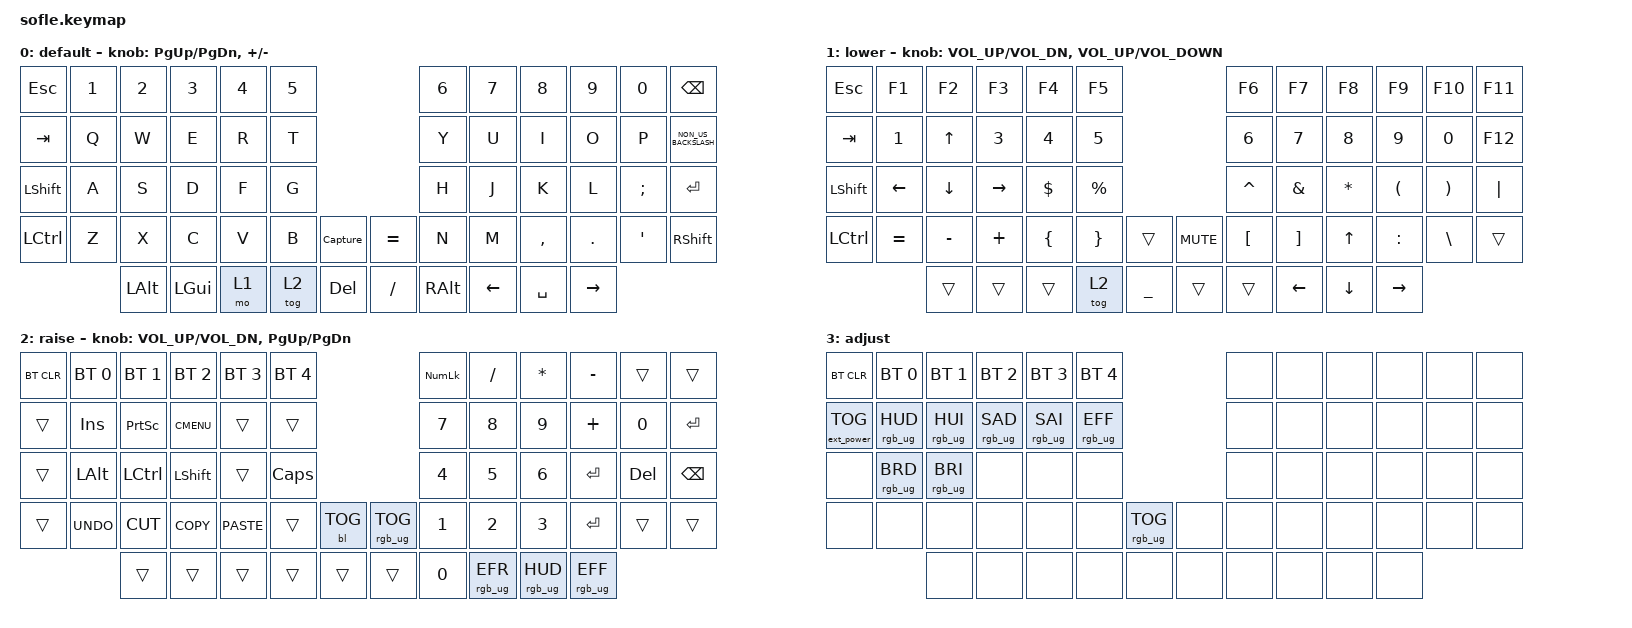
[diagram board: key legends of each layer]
/*
 * Copyright (c) 2020 The ZMK Contributors
 *
 * SPDX-License-Identifier: MIT
 */

#include <behaviors.dtsi>
#include <dt-bindings/zmk/backlight.h>
#include <dt-bindings/zmk/bt.h>
#include <dt-bindings/zmk/ext_power.h>
#include <dt-bindings/zmk/keys.h>
#include <dt-bindings/zmk/rgb.h>

#define BASE 0
#define LOWER 1
#define RAISE 2
#define ADJUST 3

/ {
    // Activate ADJUST layer by pressing raise and lower

    conditional_layers {
        compatible = "zmk,conditional-layers";

        adjust_layer {
            if-layers = <LOWER RAISE>;
            then-layer = <ADJUST>;
        };
    };

    macros {
        Capture: Capture {
            compatible = "zmk,behavior-macro";
            #binding-cells = <0>;
            bindings = <&kp LGUI &kp LEFT_SHIFT &kp S>;
            label = "CAPTURE";
        };
    };

    keymap {
        compatible = "zmk,keymap";

        default_layer {
            display-name = "default";

            // ------------------------------------------------------------------------------------------------------------
            // |   `   |  1  |  2  |  3   |  4   |  5   |                   |  6   |  7    |  8    |  9   |   0   |       |
            // |  ESC  |  Q  |  W  |  E   |  R   |  T   |                   |  Y   |  U    |  I    |  O   |   P   | BKSPC |
            // |  TAB  |  A  |  S  |  D   |  F   |  G   |                   |  H   |  J    |  K    |  L   |   ;   |   '   |
            // | SHIFT |  Z  |  X  |  C   |  V   |  B   |  MUTE  |  |       |  N   |  M    |  ,    |  .   |   /   | SHIFT |
            //               | GUI | ALT  | CTRL | LOWER|  ENTER |  | SPACE | RAISE| CTRL  | ALT   | GUI  |

            bindings = <
&kp ESCAPE      &kp N1  &kp N2        &kp N3        &kp N4  &kp N5                           &kp N6         &kp N7          &kp N8     &kp N9           &kp N0            &kp BACKSPACE
&kp TAB         &kp Q   &kp W         &kp E         &kp R   &kp T                            &kp Y          &kp U           &kp I      &kp O            &kp P             &kp NON_US_BACKSLASH
&kp LEFT_SHIFT  &kp A   &kp S         &kp D         &kp F   &kp G                            &kp H          &kp J           &kp K      &kp L            &kp SEMI          &kp ENTER
&kp LCTRL       &kp Z   &kp X         &kp C         &kp V   &kp B   &Capture      &kp EQUAL  &kp N          &kp M           &kp COMMA  &kp DOT          &kp SINGLE_QUOTE  &kp RSHFT
                        &kp LEFT_ALT  &kp LEFT_GUI  &mo 1   &tog 2  &kp DELETE    &kp SLASH  &kp RIGHT_ALT  &kp LEFT_ARROW  &kp SPACE  &kp RIGHT_ARROW
            >;

            sensor-bindings =
                <&inc_dec_kp PAGE_UP PAGE_DOWN>,
                <&inc_dec_kp PLUS MINUS>;
        };

        lower_layer {
            display-name = "lower";

            // TODO: Some binds are waiting for shifted keycode support.
            // ------------------------------------------------------------------------------------------------------------
            // |       |  F1 |  F2 |  F3  |  F4  |  F5  |                   |  F6  |  F7   |  F8   |  F9  |  F10  |  F11  |
            // |   `   |  1  |  2  |  3   |  4   |  5   |                   |  6   |  7    |  8    |  9   |   0   |  F12  |
            // |       |  !  |  @  |  #   |  $   |  %   |                   |  ^   |  &    |  *    |  (   |   )   |   |   |
            // |       |  =  |  -  |  +   |  {   |  }   |        |  |       |  [   |  ]    |  ;    |  :   |   \   |       |
            //               |     |      |      |      |        |  |       |      |       |       |      |

            bindings = <
&kp ESCAPE      &kp F1          &kp F2        &kp F3           &kp F4    &kp F5                                   &kp F6     &kp F7          &kp F8          &kp F9           &kp F10   &kp F11
&kp TAB         &kp N1          &kp UP_ARROW  &kp N3           &kp N4    &kp N5                                   &kp N6     &kp N7          &kp N8          &kp N9           &kp N0    &kp F12
&kp LEFT_SHIFT  &kp LEFT_ARROW  &kp DOWN      &kp RIGHT_ARROW  &kp DLLR  &kp PRCNT                                &kp CARET  &kp AMPS        &kp ASTRK       &kp LPAR         &kp RPAR  &kp PIPE
&kp LCTRL       &kp EQUAL       &kp MINUS     &kp PLUS         &kp LBRC  &kp RBRC   &trans            &kp K_MUTE  &kp LBKT   &kp RBKT        &kp UP_ARROW    &kp COLON        &kp BSLH  &trans
                                &trans        &trans           &trans    &tog 2     &kp UNDERSCORE    &trans      &trans     &kp LEFT_ARROW  &kp DOWN_ARROW  &kp RIGHT_ARROW
            >;

            sensor-bindings =
                <&inc_dec_kp C_VOL_UP C_VOL_DN>,
                <&inc_dec_kp C_VOLUME_UP C_VOLUME_DOWN>;
        };

        raise_layer {
            display-name = "raise";

            // ------------------------------------------------------------------------------------------------------------
            // | BTCLR | BT1  | BT2  |  BT3  |  BT4  |  BT5 |                |      |      |       |      |       |       |
            // |       | INS  | PSCR | GUI   |       |      |                | PGUP |      |   ^   |      |       |       |
            // |       | ALT  | CTRL | SHIFT |       | CAPS |                | PGDN |   <- |   v   |  ->  |  DEL  | BKSPC |
            // |       | UNDO | CUT  | COPY  | PASTE |      |      |  |      |      |      |       |      |       |       |
            //                |      |       |       |      |      |  |      |      |      |       |      |

            bindings = <
&bt BT_CLR  &bt BT_SEL 0  &bt BT_SEL 1  &bt BT_SEL 2  &bt BT_SEL 3  &bt BT_SEL 4                                 &kp KP_NUMLOCK  &kp SLASH        &kp ASTERISK     &kp MINUS        &trans   &trans
&trans      &kp INS       &kp PSCRN     &kp K_CMENU   &trans        &trans                                       &kp NUMBER_7    &kp NUMBER_8     &kp N9           &kp PLUS         &kp N0   &kp ENTER
&trans      &kp LALT      &kp LCTRL     &kp LSHFT     &trans        &kp CLCK                                     &kp NUMBER_4    &kp N5           &kp NUMBER_6     &kp ENTER        &kp DEL  &kp BSPC
&trans      &kp K_UNDO    &kp K_CUT     &kp K_COPY    &kp K_PASTE   &trans        &bl BL_TOG    &rgb_ug RGB_TOG  &kp NUMBER_1    &kp NUMBER_2     &kp NUMBER_3     &kp ENTER        &trans   &trans
                          &trans        &trans        &trans        &trans        &trans        &trans           &kp NUMBER_0    &rgb_ug RGB_EFR  &rgb_ug RGB_HUD  &rgb_ug RGB_EFF
            >;

            sensor-bindings = <&inc_dec_kp C_VOL_UP C_VOL_DN &inc_dec_kp PG_UP PG_DN>;
        };

        adjust_layer {
            // ----------------------------------------------------------------------------------------------------------------------------
            // | BTCLR  |  BT1    |  BT2    |   BT3   |   BT4   |   BT5   |                  |      |      |       |      |       |       |
            // | EXTPWR | RGB_HUD | RGB_HUI | RGB_SAD | RGB_SAI | RGB_EFF |                  |      |      |       |      |       |       |
            // |        | RGB_BRD | RGB_BRI |         |         |         |                  |      |      |       |      |       |       |
            // |        |         |         |         |         |         | RGB_TOG | |      |      |      |       |      |       |       |
            //                    |         |         |         |         |         | |      |      |      |       |      |

            display-name = "adjust";
            bindings = <
&bt BT_CLR         &bt BT_SEL 0     &bt BT_SEL 1     &bt BT_SEL 2     &bt BT_SEL 3     &bt BT_SEL 4                               &none  &none  &none  &none  &none  &none
&ext_power EP_TOG  &rgb_ug RGB_HUD  &rgb_ug RGB_HUI  &rgb_ug RGB_SAD  &rgb_ug RGB_SAI  &rgb_ug RGB_EFF                            &none  &none  &none  &none  &none  &none
&none              &rgb_ug RGB_BRD  &rgb_ug RGB_BRI  &none            &none            &none                                      &none  &none  &none  &none  &none  &none
&none              &none            &none            &none            &none            &none            &rgb_ug RGB_TOG    &none  &none  &none  &none  &none  &none  &none
                                    &none            &none            &none            &none            &none              &none  &none  &none  &none  &none
            >;
        };
    };
};
